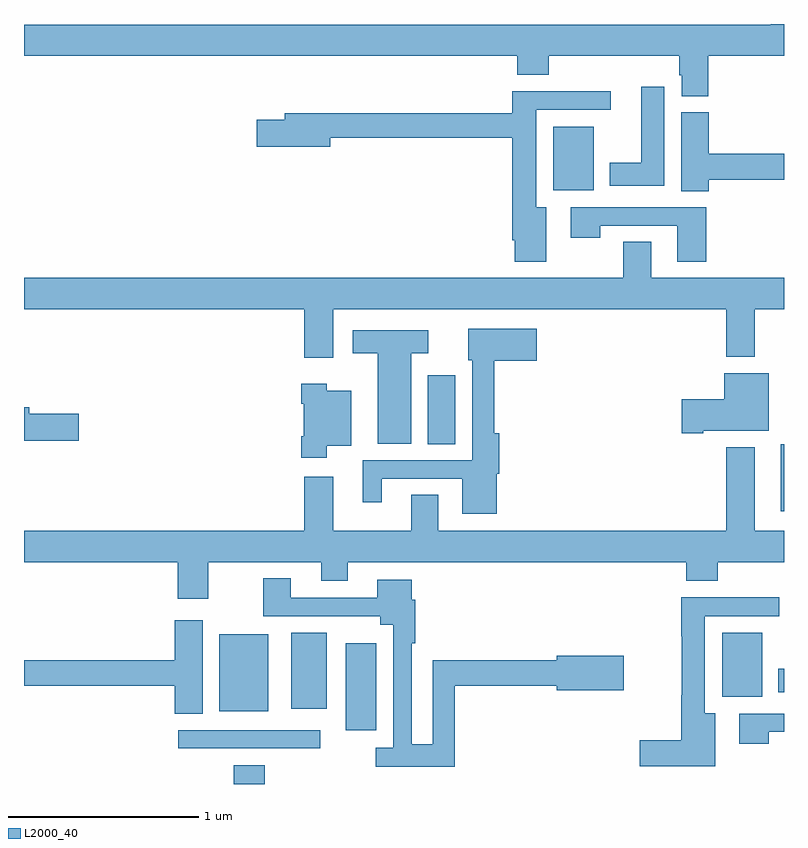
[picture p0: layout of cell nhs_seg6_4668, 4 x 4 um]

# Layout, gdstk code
import gdstk
lib = gdstk.Library(unit=1e-6, precision=1e-09)
def R(c, l, rs):  # rectangles x0, y0, x1, y1
    for r in rs: c.add(gdstk.rectangle(r[:2], r[2:], *l))
def P(c, l, *ps):  # polygons
    for p in ps: c.add(gdstk.Polygon(p, *l))
L2000_40 = (2000, 40)

nhs_seg6_4668 = lib.new_cell('nhs_seg6_4668')
R(nhs_seg6_4668, L2000_40, [(388.103,947.5,388.268,947.599), (387.813,947.688,388.558,947.784), (388.694,947.783,388.855,948.241), (388.028,947.882,388.285,948.289), (388.406,947.897,388.594,948.295), (390.674,947.96,390.886,948.295), (390.971,947.984,391,948.106), (390.983,948.936,391,949.288), (389.126,949.288,389.269,949.651), (389.786,950.624,389.998,950.959)])
P(nhs_seg6_4668, L2000_40, [(390.602,951.332),(391,951.332),(391,951.5),(390.929,951.5),(390.929,951.496),(387,951.496),(387,951.332),(389.597,951.332),(389.597,951.233),(389.762,951.233),(389.762,951.332),(390.449,951.332),(390.449,951.231),(390.461,951.231),(390.461,951.121),(390.602,951.121)],
  [(390.37,951.169),(390.248,951.169),(390.248,950.77),(390.083,950.77),(390.083,950.648),(390.37,950.648)],
  [(389.749,950.536),(389.695,950.536),(389.695,951.048),(390.088,951.048),(390.088,951.146),(389.57,951.146),(389.57,951.031),(388.373,951.031),(388.373,950.997),(388.224,950.997),(388.224,950.855),(388.612,950.855),(388.612,950.902),(389.57,950.902),(389.57,950.362),(389.582,950.362),(389.582,950.25),(389.749,950.25)],
  [(390.605,950.68),(391,950.68),(391,950.816),(390.605,950.816),(390.605,951.036),(390.458,951.036),(390.458,950.62),(390.605,950.62)],
  [(390.59,950.535),(389.877,950.535),(389.877,950.376),(390.033,950.376),(390.033,950.439),(390.437,950.439),(390.437,950.25),(390.59,950.25)],
  [(388.627,950),(390.695,950),(390.695,949.748),(390.847,949.748),(390.847,950),(391,950),(391,950.164),(390.301,950.164),(390.301,950.354),(390.154,950.354),(390.154,950.164),(387,950.164),(387,950),(388.475,950),(388.475,949.743),(388.627,949.743)],
  [(389.488,949.134),(389.501,949.134),(389.501,949.345),(389.474,949.345),(389.474,949.727),(389.698,949.727),(389.698,949.897),(389.339,949.897),(389.339,949.731),(389.358,949.731),(389.358,949.203),(388.784,949.203),(388.784,948.984),(388.882,948.984),(388.882,949.107),(389.306,949.107),(389.306,948.923),(389.488,948.923)],
  [(389.038,949.766),(389.128,949.766),(389.128,949.888),(388.731,949.888),(388.731,949.766),(388.862,949.766),(388.862,949.292),(389.038,949.292)],
  [(390.574,949.358),(390.919,949.358),(390.919,949.663),(390.686,949.663),(390.686,949.524),(390.462,949.524),(390.462,949.346),(390.574,949.346)],
  [(388.594,949.28),(388.723,949.28),(388.723,949.57),(388.594,949.57),(388.594,949.606),(388.46,949.606),(388.46,949.502),(388.472,949.502),(388.472,949.33),(388.46,949.33),(388.46,949.218),(388.594,949.218)],
  [(387.289,949.448),(387.028,949.448),(387.028,949.484),(387,949.484),(387,949.306),(387.289,949.306)],
  [(387.969,948.668),(388.565,948.668),(388.565,948.569),(388.705,948.569),(388.705,948.668),(390.485,948.668),(390.485,948.569),(390.65,948.569),(390.65,948.668),(391,948.668),(391,948.832),(390.847,948.832),(390.847,949.273),(390.695,949.273),(390.695,948.832),(389.179,948.832),(389.179,949.022),(389.039,949.022),(389.039,948.832),(388.627,948.832),(388.627,949.117),(388.475,949.117),(388.475,948.832),(387,948.832),(387,948.668),(387.809,948.668),(387.809,948.474),(387.969,948.474)],
  [(389.267,948.016),(389.804,948.016),(389.804,947.993),(390.157,947.993),(390.157,948.176),(389.804,948.176),(389.804,948.152),(389.151,948.152),(389.151,947.708),(389.04,947.708),(389.04,948.242),(389.06,948.242),(389.06,948.47),(389.041,948.47),(389.041,948.574),(388.859,948.574),(388.859,948.48),(388.405,948.48),(388.405,948.583),(388.258,948.583),(388.258,948.384),(388.874,948.384),(388.874,948.338),(388.944,948.338),(388.944,947.692),(388.851,947.692),(388.851,947.592),(389.267,947.592)],
  [(390.637,947.872),(390.583,947.872),(390.583,948.384),(390.976,948.384),(390.976,948.482),(390.458,948.482),(390.458,948.277),(390.463,948.277),(390.463,947.968),(390.458,947.968),(390.458,947.729),(390.24,947.729),(390.24,947.594),(390.637,947.594)],
  [(387.94,948.361),(387.794,948.361),(387.794,948.152),(387,948.152),(387,948.016),(387.794,948.016),(387.794,947.869),(387.94,947.869)],
  [(390.921,947.775),(391,947.775),(391,947.871),(390.765,947.871),(390.765,947.712),(390.921,947.712)])

lib.write_gds('nhs_seg6_4668.gds')
